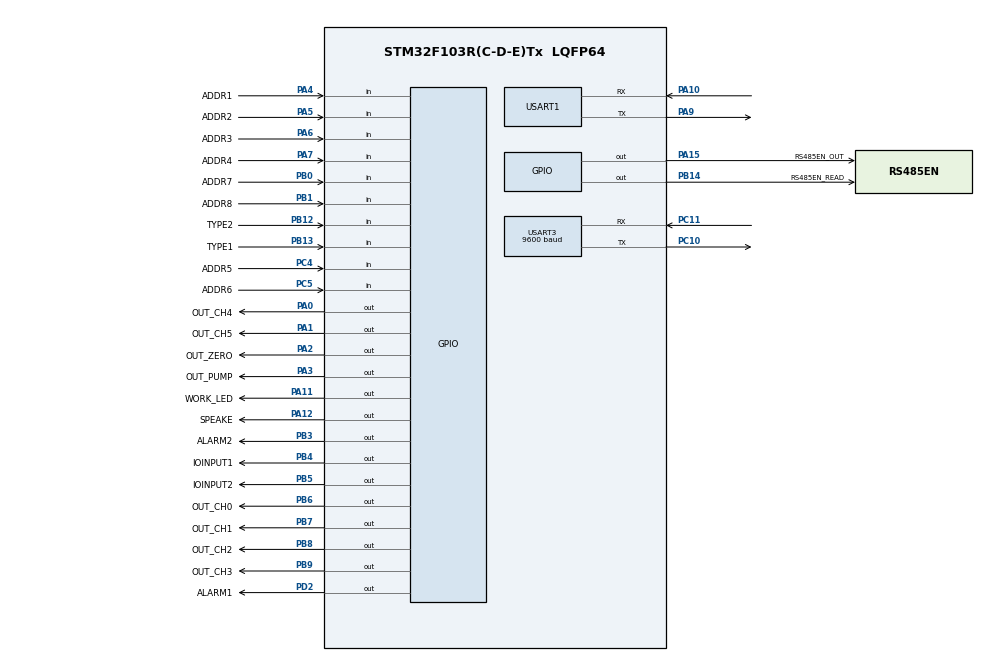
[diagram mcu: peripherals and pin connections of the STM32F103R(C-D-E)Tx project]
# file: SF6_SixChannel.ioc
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IWDG.Prescaler=IWDG_PRESCALER_32
IWDG.Reload=1000
Mcu.Family=STM32F1
Mcu.Name=STM32F103R(C-D-E)Tx
Mcu.Package=LQFP64
NVIC.PriorityGroup=NVIC_PRIORITYGROUP_4
NVIC.TIM3_IRQn=true\:0\:0\:false\:true\:true\:1\:true
NVIC.USART1_IRQn=true\:0\:0\:false\:true\:true\:2\:true
NVIC.USART3_IRQn=true\:0\:0\:false\:true\:true\:3\:true
PA0-WKUP.GPIO_Label=OUT_CH4
PA0-WKUP.GPIO_Speed=GPIO_SPEED_FREQ_HIGH
PA0-WKUP.PinState=GPIO_PIN_SET
PA0-WKUP.Signal=GPIO_Output
PA1.GPIO_Label=OUT_CH5
PA1.GPIO_Speed=GPIO_SPEED_FREQ_HIGH
PA1.PinState=GPIO_PIN_SET
PA1.Signal=GPIO_Output
PA10.Mode=Asynchronous
PA10.Signal=USART1_RX
PA11.GPIO_Label=WORK_LED
PA11.GPIO_Speed=GPIO_SPEED_FREQ_HIGH
PA11.PinState=GPIO_PIN_SET
PA11.Signal=GPIO_Output
PA12.GPIO_Label=SPEAKE
PA12.GPIO_Speed=GPIO_SPEED_FREQ_HIGH
PA12.Signal=GPIO_Output
PA13.Mode=Serial_Wire
PA13.Signal=SYS_JTMS-SWDIO
PA14.Mode=Serial_Wire
PA14.Signal=SYS_JTCK-SWCLK
PA15.GPIO_Label=RS485EN_OUT
PA15.GPIO_Speed=GPIO_SPEED_FREQ_HIGH
PA15.Signal=GPIO_Output
PA2.GPIO_Label=OUT_ZERO
PA2.GPIO_Speed=GPIO_SPEED_FREQ_HIGH
PA2.PinState=GPIO_PIN_SET
PA2.Signal=GPIO_Output
PA3.GPIO_Label=OUT_PUMP
PA3.GPIO_Speed=GPIO_SPEED_FREQ_HIGH
PA3.PinState=GPIO_PIN_SET
PA3.Signal=GPIO_Output
PA4.GPIO_Label=ADDR1
PA4.Signal=GPIO_Input
PA5.GPIO_Label=ADDR2
PA5.Signal=GPIO_Input
PA6.GPIO_Label=ADDR3
PA6.Signal=GPIO_Input
PA7.GPIO_Label=ADDR4
PA7.Signal=GPIO_Input
PA9.Mode=Asynchronous
PA9.Signal=USART1_TX
PB0.GPIO_Label=ADDR7
PB0.Signal=GPIO_Input
PB1.GPIO_Label=ADDR8
PB1.Signal=GPIO_Input
PB12.GPIO_Label=TYPE2
PB12.Signal=GPIO_Input
PB13.GPIO_Label=TYPE1
PB13.Signal=GPIO_Input
PB14.GPIO_Label=RS485EN_READ
PB14.GPIO_Speed=GPIO_SPEED_FREQ_HIGH
PB14.Signal=GPIO_Output
PB3.GPIO_Label=ALARM2
PB3.GPIO_Speed=GPIO_SPEED_FREQ_HIGH
PB3.Signal=GPIO_Output
PB4.GPIO_Label=IOINPUT1
PB4.GPIO_Speed=GPIO_SPEED_FREQ_HIGH
PB4.PinState=GPIO_PIN_SET
PB4.Signal=GPIO_Output
PB5.GPIO_Label=IOINPUT2
PB5.GPIO_Speed=GPIO_SPEED_FREQ_HIGH
PB5.PinState=GPIO_PIN_SET
PB5.Signal=GPIO_Output
PB6.GPIO_Label=OUT_CH0
PB6.GPIO_Speed=GPIO_SPEED_FREQ_HIGH
PB6.PinState=GPIO_PIN_SET
PB6.Signal=GPIO_Output
PB7.GPIO_Label=OUT_CH1
PB7.GPIO_Speed=GPIO_SPEED_FREQ_HIGH
PB7.PinState=GPIO_PIN_SET
PB7.Signal=GPIO_Output
PB8.GPIO_Label=OUT_CH2
PB8.GPIO_Speed=GPIO_SPEED_FREQ_HIGH
PB8.PinState=GPIO_PIN_SET
PB8.Signal=GPIO_Output
PB9.GPIO_Label=OUT_CH3
PB9.GPIO_Speed=GPIO_SPEED_FREQ_HIGH
PB9.PinState=GPIO_PIN_SET
PB9.Signal=GPIO_Output
PC10.Mode=Asynchronous
PC10.Signal=USART3_TX
PC11.Mode=Asynchronous
PC11.Signal=USART3_RX
PC14-OSC32_IN.Mode=LSE-External-Oscillator
PC14-OSC32_IN.Signal=RCC_OSC32_IN
PC15-OSC32_OUT.Mode=LSE-External-Oscillator
PC15-OSC32_OUT.Signal=RCC_OSC32_OUT
PC4.GPIO_Label=ADDR5
PC4.Signal=GPIO_Input
PC5.GPIO_Label=ADDR6
PC5.Signal=GPIO_Input
PD0-OSC_IN.Mode=HSE-External-Oscillator
PD0-OSC_IN.Signal=RCC_OSC_IN
PD1-OSC_OUT.Mode=HSE-External-Oscillator
PD1-OSC_OUT.Signal=RCC_OSC_OUT
PD2.GPIO_Label=ALARM1
PD2.GPIO_Speed=GPIO_SPEED_FREQ_HIGH
PD2.Signal=GPIO_Output
ProjectManager.HeapSize=0x200
ProjectManager.StackSize=0x400
ProjectManager.TargetToolchain=MDK-ARM V5
RCC.AHBCLKDivider=RCC_SYSCLK_DIV2
RCC.AHBFreq_Value=8000000
RCC.APB1Freq_Value=8000000
RCC.APB1TimFreq_Value=8000000
RCC.APB2Freq_Value=8000000
RCC.APB2TimFreq_Value=8000000
RCC.HCLKFreq_Value=8000000
RCC.PLLSourceVirtual=RCC_PLLSOURCE_HSE
RCC.SYSCLKFreq_VALUE=16000000
RCC.SYSCLKSource=RCC_SYSCLKSOURCE_PLLCLK
RCC.USBFreq_Value=16000000
TIM3.Period=100-1
TIM3.Prescaler=800-1
USART1.VirtualMode=VM_ASYNC
USART3.BaudRate=9600
USART3.VirtualMode=VM_ASYNC
VP_IWDG_VS_IWDG.Mode=IWDG_Activate
VP_TIM3_VS_ClockSourceINT.Mode=Internal
board=SF6_SixChannel

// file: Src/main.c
/**
  ******************************************************************************
  * @file           : main.c
  * @brief          : Main program body
  ******************************************************************************
  ** This notice applies to any and all portions of this file
  * that are not between comment pairs USER CODE BEGIN and
  * USER CODE END. Other portions of this file, whether
  * inserted by the user or by software development tools
  * are owned by their respective copyright owners.
  *
  * COPYRIGHT(c) 2018 STMicroelectronics
  *
  * Redistribution and use in source and binary forms, with or without modification,
  * are permitted provided that the following conditions are met:
  *   1. Redistributions of source code must retain the above copyright notice,
  *      this list of conditions and the following disclaimer.
  *   2. Redistributions in binary form must reproduce the above copyright notice,
  *      this list of conditions and the following disclaimer in the documentation
  *      and/or other materials provided with the distribution.
  *   3. Neither the name of STMicroelectronics nor the names of its contributors
  *      may be used to endorse or promote products derived from this software
  *      without specific prior written permission.
  *
  * THIS SOFTWARE IS PROVIDED BY THE COPYRIGHT HOLDERS AND CONTRIBUTORS "AS IS"
  * AND ANY EXPRESS OR IMPLIED WARRANTIES, INCLUDING, BUT NOT LIMITED TO, THE
  * IMPLIED WARRANTIES OF MERCHANTABILITY AND FITNESS FOR A PARTICULAR PURPOSE ARE
  * DISCLAIMED. IN NO EVENT SHALL THE COPYRIGHT HOLDER OR CONTRIBUTORS BE LIABLE
  * FOR ANY DIRECT, INDIRECT, INCIDENTAL, SPECIAL, EXEMPLARY, OR CONSEQUENTIAL
  * DAMAGES (INCLUDING, BUT NOT LIMITED TO, PROCUREMENT OF SUBSTITUTE GOODS OR
  * SERVICES; LOSS OF USE, DATA, OR PROFITS; OR BUSINESS INTERRUPTION) HOWEVER
  * CAUSED AND ON ANY THEORY OF LIABILITY, WHETHER IN CONTRACT, STRICT LIABILITY,
  * OR TORT (INCLUDING NEGLIGENCE OR OTHERWISE) ARISING IN ANY WAY OUT OF THE USE
  * OF THIS SOFTWARE, EVEN IF ADVISED OF THE POSSIBILITY OF SUCH DAMAGE.
  *
  ******************************************************************************
  */
#include "main.h"
#include "stm32f1xx_hal.h"
#include "iwdg.h"
#include "tim.h"
#include "usart.h"
#include "gpio.h"
#include "address.h"
#include "measure.h"
#include "memory.h"
#include "modbus.h"
/* USER CODE BEGIN Includes */
#include "mb.h"

#include "mbport.h"

#include "bsp_usartx_RS485.h"

/* USER CODE END Includes */

/* USER CODE BEGIN PV */
/* Private variables ---------------------------------------------------------*/

/* USER CODE END PV */

void SystemClock_Config(void);
static void MX_NVIC_Init(void);

/* USER CODE BEGIN PFP */
/* Private function prototypes -----------------------------------------------*/

/* USER CODE END PFP */

int main(void)
{

  /* MCU Configuration----------------------------------------------------------*/

  /* Reset of all peripherals, Initializes the Flash interface and the Systick. */
    HAL_Init();

  /* Configure the system clock */
  SystemClock_Config();

  /* Initialize all configured peripherals */
  MX_GPIO_Init();

  MX_TIM3_Init();

  RS485_USARTx_Init();//使能modbus发布串口
  MX_USART1_UART_Init();//使能打印串口
  MX_USART3_UART_Init();//使能发送数据串口
  MX_IWDG_Init();//初始化看门狗

  /* Initialize interrupts */
   MX_NVIC_Init();
  /* USER CODE BEGIN 2 */
  InitMemory();
  MeasureInit();
  Modbus_init();
  SpeakerOn();
  HAL_Delay(300);
  SpeakerOff();

  measure.address=getSensorAddress();//
  measure.type=getSensorType();

  eMBInit(MB_RTU,measure.address,0,9600, MB_PAR_NONE);
  eMBEnable();
  System.resetCount++;

  SaveSystem(&System);

  PrintfLog("APP Start... resetcounts=%d\r\n",System.resetCount);

  /* USER CODE END 2 */
  /* Infinite loop */
  while (1)
  {
   HAL_IWDG_Refresh(&hiwdg);
	(void)eMBPoll();//发布modbus数据
	MeasureControl();
  }
}

void SystemClock_Config(void)
{

  RCC_OscInitTypeDef RCC_OscInitStruct;
  RCC_ClkInitTypeDef RCC_ClkInitStruct;

    /**Initializes the CPU, AHB and APB busses clocks
    */
  RCC_OscInitStruct.OscillatorType = RCC_OSCILLATORTYPE_LSI|RCC_OSCILLATORTYPE_HSE;
  RCC_OscInitStruct.HSEState = RCC_HSE_ON;
  RCC_OscInitStruct.HSEPredivValue = RCC_HSE_PREDIV_DIV1;
  RCC_OscInitStruct.HSIState = RCC_HSI_ON;
  RCC_OscInitStruct.LSIState = RCC_LSI_ON;
  RCC_OscInitStruct.PLL.PLLState = RCC_PLL_ON;
  RCC_OscInitStruct.PLL.PLLSource = RCC_PLLSOURCE_HSE;
  RCC_OscInitStruct.PLL.PLLMUL = RCC_PLL_MUL8;
  if (HAL_RCC_OscConfig(&RCC_OscInitStruct) != HAL_OK)
  {
    _Error_Handler(__FILE__, __LINE__);
  }

    /**Initializes the CPU, AHB and APB busses clocks
    */
  RCC_ClkInitStruct.ClockType = RCC_CLOCKTYPE_HCLK|RCC_CLOCKTYPE_SYSCLK
                              |RCC_CLOCKTYPE_PCLK1|RCC_CLOCKTYPE_PCLK2;
  RCC_ClkInitStruct.SYSCLKSource = RCC_SYSCLKSOURCE_PLLCLK;
  RCC_ClkInitStruct.AHBCLKDivider = RCC_SYSCLK_DIV1;
  RCC_ClkInitStruct.APB1CLKDivider = RCC_HCLK_DIV2;
  RCC_ClkInitStruct.APB2CLKDivider = RCC_HCLK_DIV1;

  if (HAL_RCC_ClockConfig(&RCC_ClkInitStruct, FLASH_LATENCY_2) != HAL_OK)
  {
    _Error_Handler(__FILE__, __LINE__);
  }

    /**Configure the Systick interrupt time
    */
  HAL_SYSTICK_Config(HAL_RCC_GetHCLKFreq()/1000);

    /**Configure the Systick
    */
  HAL_SYSTICK_CLKSourceConfig(SYSTICK_CLKSOURCE_HCLK);

  /* SysTick_IRQn interrupt configuration */
  HAL_NVIC_SetPriority(SysTick_IRQn, 0, 0);
}

/**
  * @brief NVIC Configuration.
  * @retval None
  */
static void MX_NVIC_Init(void)
{
  /* TIM3_IRQn interrupt configuration */
  HAL_NVIC_SetPriority(TIM3_IRQn, 0, 1);
  HAL_NVIC_EnableIRQ(TIM3_IRQn);
  /* USART1_IRQn interrupt configuration */
  HAL_NVIC_SetPriority(USART1_IRQn, 0, 2);
  HAL_NVIC_EnableIRQ(USART1_IRQn);
  /* USART3_IRQn interrupt configuration */
  HAL_NVIC_SetPriority(USART3_IRQn, 0, 3);
  HAL_NVIC_EnableIRQ(USART3_IRQn);
}

void _Error_Handler(char *file, int line)
{
  while(1)
  {
  }
}

/************************ (C) COPYRIGHT STMicroelectronics *****END OF FILE****/
